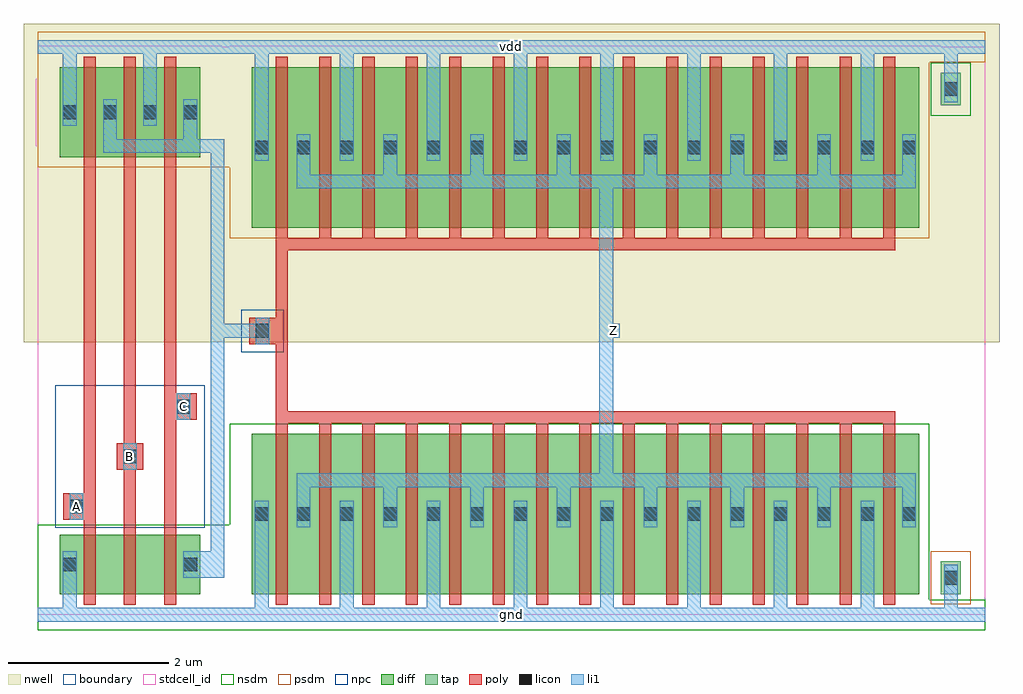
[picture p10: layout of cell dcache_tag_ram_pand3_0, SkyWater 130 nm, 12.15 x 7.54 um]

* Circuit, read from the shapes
.subckt dcache_tag_ram_pand3_0 A B C Z gnd vdd
XM1 dcache_tag_ram_pnand3_0/dcache_tag_ram_nmos_m1_w0_740_sli_dactive_3/D A gnd gnd sky130_fd_pr__nfet_01v8 w=0.74 l=0.15
XM2 dcache_tag_ram_pnand3_0/dcache_tag_ram_nmos_m1_w0_740_sactive_dactive_4/D B dcache_tag_ram_pnand3_0/dcache_tag_ram_nmos_m1_w0_740_sli_dactive_3/D gnd sky130_fd_pr__nfet_01v8 w=0.74 l=0.15
XM3 dcache_tag_ram_pdriver_3_1/A C dcache_tag_ram_pnand3_0/dcache_tag_ram_nmos_m1_w0_740_sactive_dactive_4/D gnd sky130_fd_pr__nfet_01v8 w=0.74 l=0.15
XM4 Z dcache_tag_ram_pdriver_3_1/A gnd gnd sky130_fd_pr__nfet_01v8 w=2 l=0.15 m=15
XM5 dcache_tag_ram_pdriver_3_1/A A vdd vdd sky130_fd_pr__pfet_01v8 w=1.12 l=0.15
XM6 vdd B dcache_tag_ram_pdriver_3_1/A vdd sky130_fd_pr__pfet_01v8 w=1.12 l=0.15
XM7 dcache_tag_ram_pdriver_3_1/A C vdd vdd sky130_fd_pr__pfet_01v8 w=1.12 l=0.15
XM8 Z dcache_tag_ram_pdriver_3_1/A vdd vdd sky130_fd_pr__pfet_01v8 w=2 l=0.15 m=15
.ends

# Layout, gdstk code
import gdstk
lib = gdstk.Library(unit=1e-6, precision=1e-09)
def R(c, l, rs):  # rectangles x0, y0, x1, y1
    for r in rs: c.add(gdstk.rectangle(r[:2], r[2:], *l))
def A(c, l, x, y, w, h, nx, ny, dx, dy):  # array of equal rectangles
    R(c, l, [(x+i*dx, y+j*dy, x+i*dx+w, y+j*dy+h) for i in range(nx) for j in range(ny)])
nwell = (64, 20)
diff = (65, 20)
tap = (65, 44)
poly = (66, 20)
licon = (66, 44)
li1 = (67, 20)
stdcell_id = (81, 4)
nsdm = (93, 44)
psdm = (94, 20)
npc = (95, 20)
boundary = (235, 4)

dcache_tag_ram_contact_1 = lib.new_cell('dcache_tag_ram_contact_11')
R(dcache_tag_ram_contact_1, nwell, [(-0.295,-0.255,0.545,0.585)])
R(dcache_tag_ram_contact_1, diff, [(0,0.02,0.25,0.31)])
R(dcache_tag_ram_contact_1, licon, [(0.04,0.08,0.21,0.25)])
R(dcache_tag_ram_contact_1, li1, [(0.04,0,0.21,0.33)])
R(dcache_tag_ram_contact_1, stdcell_id, [(-0.295,-0.255,0.545,0.585)])
R(dcache_tag_ram_contact_1, psdm, [(-0.125,-0.105,0.375,0.435)])
R(dcache_tag_ram_contact_1, boundary, [(-0.295,-0.255,0.545,0.585)])

dcache_tag_ram_pmos_m1_w = lib.new_cell('dcache_tag_ram_pmos_m1_w1_120_sli_dli')
R(dcache_tag_ram_pmos_m1_w, nwell, [(-0.27,-0.27,1.02,1.39)])
R(dcache_tag_ram_pmos_m1_w, diff, [(0,0,0.75,1.12)])
R(dcache_tag_ram_pmos_m1_w, poly, [(0.3,-0.13,0.45,1.25), (0.3,-0.13,0.45,1.25)])
R(dcache_tag_ram_pmos_m1_w, li1, [(0.04,0.395,0.21,0.725), (0.54,0.395,0.71,0.725)])
R(dcache_tag_ram_pmos_m1_w, stdcell_id, [(-0.27,-0.27,1.02,1.39)])
R(dcache_tag_ram_pmos_m1_w, psdm, [(-0.125,-0.125,0.875,1.245)])
R(dcache_tag_ram_pmos_m1_w, boundary, [(-0.27,-0.27,1.02,1.39)])
dcache_tag_ram_pmos_m1_w.add(gdstk.Reference(dcache_tag_ram_contact_1, (0,0.395)))
dcache_tag_ram_pmos_m1_w.add(gdstk.Reference(dcache_tag_ram_contact_1, (0.5,0.395)))
dcache_tag_ram_pmos_m1_w.add(gdstk.Label('G', (0.375,0.56), layer=66, texttype=5))
dcache_tag_ram_pmos_m1_w.add(gdstk.Label('S', (0.125,0.56), layer=67, texttype=5))
dcache_tag_ram_pmos_m1_w.add(gdstk.Label('D', (0.625,0.56), layer=67, texttype=5))

c_dcache_tag_ram_contact_1 = lib.new_cell('dcache_tag_ram_contact_10')
R(c_dcache_tag_ram_contact_1, diff, [(0,0.02,0.25,0.31)])
R(c_dcache_tag_ram_contact_1, licon, [(0.04,0.08,0.21,0.25)])
R(c_dcache_tag_ram_contact_1, li1, [(0.04,0,0.21,0.33)])
R(c_dcache_tag_ram_contact_1, stdcell_id, [(-0.125,-0.105,0.375,0.435)])
R(c_dcache_tag_ram_contact_1, nsdm, [(-0.125,-0.105,0.375,0.435)])
R(c_dcache_tag_ram_contact_1, boundary, [(-0.125,-0.105,0.375,0.435)])

dcache_tag_ram_nmos_m1_w = lib.new_cell('dcache_tag_ram_nmos_m1_w0_740_sli_dactive')
R(dcache_tag_ram_nmos_m1_w, diff, [(0,0,0.75,0.74), (0.55,0.295,0.7,0.445)])
R(dcache_tag_ram_nmos_m1_w, poly, [(0.3,-0.13,0.45,0.87), (0.3,-0.13,0.45,0.87)])
R(dcache_tag_ram_nmos_m1_w, li1, [(0.04,0.205,0.21,0.535)])
R(dcache_tag_ram_nmos_m1_w, stdcell_id, [(-0.125,-0.13,0.875,0.87)])
R(dcache_tag_ram_nmos_m1_w, nsdm, [(-0.125,-0.125,0.875,0.865)])
R(dcache_tag_ram_nmos_m1_w, boundary, [(-0.125,-0.13,0.875,0.87)])
dcache_tag_ram_nmos_m1_w.add(gdstk.Reference(c_dcache_tag_ram_contact_1, (0,0.205)))
dcache_tag_ram_nmos_m1_w.add(gdstk.Label('G', (0.375,0.37), layer=66, texttype=5))
dcache_tag_ram_nmos_m1_w.add(gdstk.Label('S', (0.125,0.37), layer=67, texttype=5))
dcache_tag_ram_nmos_m1_w.add(gdstk.Label('D', (0.625,0.37), layer=65, texttype=5))

c_dcache_tag_ram_nmos_m1_w = lib.new_cell('dcache_tag_ram_nmos_m1_w0_740_sactive_dactive')
R(c_dcache_tag_ram_nmos_m1_w, diff, [(0,0,0.75,0.74), (0.05,0.295,0.2,0.445), (0.55,0.295,0.7,0.445)])
R(c_dcache_tag_ram_nmos_m1_w, poly, [(0.3,-0.13,0.45,0.87), (0.3,-0.13,0.45,0.87)])
R(c_dcache_tag_ram_nmos_m1_w, stdcell_id, [(-0.125,-0.13,0.875,0.87)])
R(c_dcache_tag_ram_nmos_m1_w, nsdm, [(-0.125,-0.125,0.875,0.865)])
R(c_dcache_tag_ram_nmos_m1_w, boundary, [(-0.125,-0.13,0.875,0.87)])
c_dcache_tag_ram_nmos_m1_w.add(gdstk.Label('G', (0.375,0.37), layer=66, texttype=5))
c_dcache_tag_ram_nmos_m1_w.add(gdstk.Label('S', (0.125,0.37), layer=65, texttype=5))
c_dcache_tag_ram_nmos_m1_w.add(gdstk.Label('D', (0.625,0.37), layer=65, texttype=5))

c_dcache_tag_ram_nmos_m1_w_ = lib.new_cell('dcache_tag_ram_nmos_m1_w0_740_sactive_dli')
R(c_dcache_tag_ram_nmos_m1_w_, diff, [(0,0,0.75,0.74), (0.05,0.295,0.2,0.445)])
R(c_dcache_tag_ram_nmos_m1_w_, poly, [(0.3,-0.13,0.45,0.87), (0.3,-0.13,0.45,0.87)])
R(c_dcache_tag_ram_nmos_m1_w_, li1, [(0.54,0.205,0.71,0.535)])
R(c_dcache_tag_ram_nmos_m1_w_, stdcell_id, [(-0.125,-0.13,0.875,0.87)])
R(c_dcache_tag_ram_nmos_m1_w_, nsdm, [(-0.125,-0.125,0.875,0.865)])
R(c_dcache_tag_ram_nmos_m1_w_, boundary, [(-0.125,-0.13,0.875,0.87)])
c_dcache_tag_ram_nmos_m1_w_.add(gdstk.Reference(c_dcache_tag_ram_contact_1, (0.5,0.205)))
c_dcache_tag_ram_nmos_m1_w_.add(gdstk.Label('G', (0.375,0.37), layer=66, texttype=5))
c_dcache_tag_ram_nmos_m1_w_.add(gdstk.Label('S', (0.125,0.37), layer=65, texttype=5))
c_dcache_tag_ram_nmos_m1_w_.add(gdstk.Label('D', (0.625,0.37), layer=67, texttype=5))

c_dcache_tag_ram_contact_1_ = lib.new_cell('dcache_tag_ram_contact_15')
R(c_dcache_tag_ram_contact_1_, poly, [(0,0,0.33,0.33)])
R(c_dcache_tag_ram_contact_1_, licon, [(0.08,0.08,0.25,0.25)])
R(c_dcache_tag_ram_contact_1_, li1, [(0.08,0,0.25,0.33)])
R(c_dcache_tag_ram_contact_1_, stdcell_id, [(-0.1,-0.1,0.43,0.43)])
R(c_dcache_tag_ram_contact_1_, npc, [(-0.1,-0.1,0.43,0.43)])
R(c_dcache_tag_ram_contact_1_, boundary, [(-0.1,-0.1,0.43,0.43)])

dcache_tag_ram_pnand3 = lib.new_cell('dcache_tag_ram_pnand3')
R(dcache_tag_ram_pnand3, nwell, [(-0.18,3.395,2.57,7.355)])
A(dcache_tag_ram_pnand3, poly, 0.57, 1.125, 0.15, 4.44, 3, 1, 0.5, 0)
R(dcache_tag_ram_pnand3, poly, [(0.48,1.185,0.57,1.515), (1.07,1.805,1.145,2.135), (1.57,2.425,1.81,2.755)])
R(dcache_tag_ram_pnand3, li1, [(0,-0.085,2.39,0.085), (0.31,-0.085,0.48,0.46), (1.895,0.46,2.235,0.79), (2.15,0.46,2.32,5.835), (0.395,1.185,0.565,1.515), (1.06,1.805,1.23,2.135), (1.725,2.425,1.895,2.755), (0.81,5.75,0.98,5.92), (0.895,5.75,2.235,5.92), (1.81,5.75,1.98,5.92), (1.895,5.75,2.235,5.92), (2.15,5.75,2.32,5.92), (0.81,5.835,0.98,6.255), (1.81,5.835,1.98,6.255), (0.31,6.09,0.48,7.155), (1.31,6.09,1.48,7.155), (0,6.985,2.39,7.155)])
R(dcache_tag_ram_pnand3, stdcell_id, [(0,0,2.39,7.07), (0,0,2.39,7.07)])
R(dcache_tag_ram_pnand3, nsdm, [(0,-0.19,2.39,0.19), (0,0,2.39,1.12)])
R(dcache_tag_ram_pnand3, psdm, [(0,5.57,2.39,7.07), (0,6.88,2.39,7.26)])
R(dcache_tag_ram_pnand3, npc, [(0.215,1.085,2.075,2.855)])
R(dcache_tag_ram_pnand3, boundary, [(0,0,2.39,7.07), (0,0,2.39,7.07)])
dcache_tag_ram_pnand3.add(gdstk.Reference(dcache_tag_ram_pmos_m1_w, (0.27,5.695)))
dcache_tag_ram_pnand3.add(gdstk.Reference(dcache_tag_ram_pmos_m1_w, (0.77,5.695)))
dcache_tag_ram_pnand3.add(gdstk.Reference(dcache_tag_ram_pmos_m1_w, (1.27,5.695)))
dcache_tag_ram_pnand3.add(gdstk.Reference(dcache_tag_ram_nmos_m1_w, (0.27,0.255)))
dcache_tag_ram_pnand3.add(gdstk.Reference(c_dcache_tag_ram_nmos_m1_w, (0.77,0.255)))
dcache_tag_ram_pnand3.add(gdstk.Reference(c_dcache_tag_ram_nmos_m1_w_, (1.27,0.255)))
dcache_tag_ram_pnand3.add(gdstk.Reference(c_dcache_tag_ram_contact_1_, (0.315,1.185)))
dcache_tag_ram_pnand3.add(gdstk.Reference(c_dcache_tag_ram_contact_1_, (0.98,1.805)))
dcache_tag_ram_pnand3.add(gdstk.Reference(c_dcache_tag_ram_contact_1_, (1.645,2.425)))
dcache_tag_ram_pnand3.add(gdstk.Label('A', (0.48,1.35), layer=67, texttype=5))
dcache_tag_ram_pnand3.add(gdstk.Label('B', (1.145,1.97), layer=67, texttype=5))
dcache_tag_ram_pnand3.add(gdstk.Label('C', (1.81,2.59), layer=67, texttype=5))
dcache_tag_ram_pnand3.add(gdstk.Label('Z', (2.235,5.835), layer=67, texttype=5))
dcache_tag_ram_pnand3.add(gdstk.Label('gnd', (1.195,0), layer=67, texttype=5))
dcache_tag_ram_pnand3.add(gdstk.Label('vdd', (1.195,7.07), layer=67, texttype=5))

dcache_tag_ram_pmos_m15_ = lib.new_cell('dcache_tag_ram_pmos_m15_w2_000_sli_dli_da_p')
R(dcache_tag_ram_pmos_m15_, nwell, [(-0.27,-0.27,8.58,2.27)])
R(dcache_tag_ram_pmos_m15_, diff, [(0,0,8.31,2)])
A(dcache_tag_ram_pmos_m15_, poly, 0.3, -0.13, 0.15, 2.26, 15, 1, 0.54, 0)
R(dcache_tag_ram_pmos_m15_, poly, [(0.3,-0.28,8.01,-0.13)])
A(dcache_tag_ram_pmos_m15_, li1, 0.56, 0.58, 0.17, 0.42, 7, 1, 1.08, 0)
A(dcache_tag_ram_pmos_m15_, li1, 1.1, 0.835, 0.17, 0.33, 7, 1, 1.08, 0)
R(dcache_tag_ram_pmos_m15_, li1, [(0.56,0.495,8.27,0.665), (8.1,0.58,8.27,1), (0.04,0.835,0.21,1.165)])
R(dcache_tag_ram_pmos_m15_, stdcell_id, [(-0.27,-0.28,8.58,2.27)])
R(dcache_tag_ram_pmos_m15_, psdm, [(-0.125,-0.125,8.435,2.125)])
R(dcache_tag_ram_pmos_m15_, boundary, [(-0.27,-0.28,8.58,2.27)])
dcache_tag_ram_pmos_m15_.add(gdstk.Reference(dcache_tag_ram_contact_1, (0,0.835)))
dcache_tag_ram_pmos_m15_.add(gdstk.Reference(dcache_tag_ram_contact_1, (0.52,0.835)))
dcache_tag_ram_pmos_m15_.add(gdstk.Reference(dcache_tag_ram_contact_1, (1.06,0.835)))
dcache_tag_ram_pmos_m15_.add(gdstk.Reference(dcache_tag_ram_contact_1, (1.6,0.835)))
dcache_tag_ram_pmos_m15_.add(gdstk.Reference(dcache_tag_ram_contact_1, (2.14,0.835)))
dcache_tag_ram_pmos_m15_.add(gdstk.Reference(dcache_tag_ram_contact_1, (2.68,0.835)))
dcache_tag_ram_pmos_m15_.add(gdstk.Reference(dcache_tag_ram_contact_1, (3.22,0.835)))
dcache_tag_ram_pmos_m15_.add(gdstk.Reference(dcache_tag_ram_contact_1, (3.76,0.835)))
dcache_tag_ram_pmos_m15_.add(gdstk.Reference(dcache_tag_ram_contact_1, (4.3,0.835)))
dcache_tag_ram_pmos_m15_.add(gdstk.Reference(dcache_tag_ram_contact_1, (4.84,0.835)))
dcache_tag_ram_pmos_m15_.add(gdstk.Reference(dcache_tag_ram_contact_1, (5.38,0.835)))
dcache_tag_ram_pmos_m15_.add(gdstk.Reference(dcache_tag_ram_contact_1, (5.92,0.835)))
dcache_tag_ram_pmos_m15_.add(gdstk.Reference(dcache_tag_ram_contact_1, (6.46,0.835)))
dcache_tag_ram_pmos_m15_.add(gdstk.Reference(dcache_tag_ram_contact_1, (7,0.835)))
dcache_tag_ram_pmos_m15_.add(gdstk.Reference(dcache_tag_ram_contact_1, (7.54,0.835)))
dcache_tag_ram_pmos_m15_.add(gdstk.Reference(dcache_tag_ram_contact_1, (8.06,0.835)))
dcache_tag_ram_pmos_m15_.add(gdstk.Label('G', (4.155,-0.205), layer=66, texttype=5))
dcache_tag_ram_pmos_m15_.add(gdstk.Label('S', (5.505,1), layer=67, texttype=5))
dcache_tag_ram_pmos_m15_.add(gdstk.Label('S', (2.265,1), layer=67, texttype=5))
dcache_tag_ram_pmos_m15_.add(gdstk.Label('S', (1.185,1), layer=67, texttype=5))
dcache_tag_ram_pmos_m15_.add(gdstk.Label('S', (7.665,1), layer=67, texttype=5))
dcache_tag_ram_pmos_m15_.add(gdstk.Label('S', (0.125,1), layer=67, texttype=5))
dcache_tag_ram_pmos_m15_.add(gdstk.Label('S', (6.585,1), layer=67, texttype=5))
dcache_tag_ram_pmos_m15_.add(gdstk.Label('S', (3.345,1), layer=67, texttype=5))
dcache_tag_ram_pmos_m15_.add(gdstk.Label('S', (4.425,1), layer=67, texttype=5))
dcache_tag_ram_pmos_m15_.add(gdstk.Label('D', (4.415,0.58), layer=67, texttype=5))

dcache_tag_ram_nmos_m15_ = lib.new_cell('dcache_tag_ram_nmos_m15_w2_000_sli_dli_da_p')
R(dcache_tag_ram_nmos_m15_, diff, [(0,0,8.31,2)])
A(dcache_tag_ram_nmos_m15_, poly, 0.3, -0.13, 0.15, 2.26, 15, 1, 0.54, 0)
R(dcache_tag_ram_nmos_m15_, poly, [(0.3,2.13,8.01,2.28)])
A(dcache_tag_ram_nmos_m15_, li1, 1.1, 0.835, 0.17, 0.33, 7, 1, 1.08, 0)
A(dcache_tag_ram_nmos_m15_, li1, 0.56, 1, 0.17, 0.42, 7, 1, 1.08, 0)
R(dcache_tag_ram_nmos_m15_, li1, [(0.04,0.835,0.21,1.165), (8.1,1,8.27,1.42), (0.56,1.335,8.27,1.505)])
R(dcache_tag_ram_nmos_m15_, stdcell_id, [(-0.125,-0.13,8.435,2.28)])
R(dcache_tag_ram_nmos_m15_, nsdm, [(-0.125,-0.125,8.435,2.125)])
R(dcache_tag_ram_nmos_m15_, boundary, [(-0.125,-0.13,8.435,2.28)])
dcache_tag_ram_nmos_m15_.add(gdstk.Reference(c_dcache_tag_ram_contact_1, (0,0.835)))
dcache_tag_ram_nmos_m15_.add(gdstk.Reference(c_dcache_tag_ram_contact_1, (0.52,0.835)))
dcache_tag_ram_nmos_m15_.add(gdstk.Reference(c_dcache_tag_ram_contact_1, (1.06,0.835)))
dcache_tag_ram_nmos_m15_.add(gdstk.Reference(c_dcache_tag_ram_contact_1, (1.6,0.835)))
dcache_tag_ram_nmos_m15_.add(gdstk.Reference(c_dcache_tag_ram_contact_1, (2.14,0.835)))
dcache_tag_ram_nmos_m15_.add(gdstk.Reference(c_dcache_tag_ram_contact_1, (2.68,0.835)))
dcache_tag_ram_nmos_m15_.add(gdstk.Reference(c_dcache_tag_ram_contact_1, (3.22,0.835)))
dcache_tag_ram_nmos_m15_.add(gdstk.Reference(c_dcache_tag_ram_contact_1, (3.76,0.835)))
dcache_tag_ram_nmos_m15_.add(gdstk.Reference(c_dcache_tag_ram_contact_1, (4.3,0.835)))
dcache_tag_ram_nmos_m15_.add(gdstk.Reference(c_dcache_tag_ram_contact_1, (4.84,0.835)))
dcache_tag_ram_nmos_m15_.add(gdstk.Reference(c_dcache_tag_ram_contact_1, (5.38,0.835)))
dcache_tag_ram_nmos_m15_.add(gdstk.Reference(c_dcache_tag_ram_contact_1, (5.92,0.835)))
dcache_tag_ram_nmos_m15_.add(gdstk.Reference(c_dcache_tag_ram_contact_1, (6.46,0.835)))
dcache_tag_ram_nmos_m15_.add(gdstk.Reference(c_dcache_tag_ram_contact_1, (7,0.835)))
dcache_tag_ram_nmos_m15_.add(gdstk.Reference(c_dcache_tag_ram_contact_1, (7.54,0.835)))
dcache_tag_ram_nmos_m15_.add(gdstk.Reference(c_dcache_tag_ram_contact_1, (8.06,0.835)))
dcache_tag_ram_nmos_m15_.add(gdstk.Label('G', (4.155,2.205), layer=66, texttype=5))
dcache_tag_ram_nmos_m15_.add(gdstk.Label('S', (5.505,1), layer=67, texttype=5))
dcache_tag_ram_nmos_m15_.add(gdstk.Label('S', (2.265,1), layer=67, texttype=5))
dcache_tag_ram_nmos_m15_.add(gdstk.Label('S', (1.185,1), layer=67, texttype=5))
dcache_tag_ram_nmos_m15_.add(gdstk.Label('S', (7.665,1), layer=67, texttype=5))
dcache_tag_ram_nmos_m15_.add(gdstk.Label('S', (0.125,1), layer=67, texttype=5))
dcache_tag_ram_nmos_m15_.add(gdstk.Label('S', (6.585,1), layer=67, texttype=5))
dcache_tag_ram_nmos_m15_.add(gdstk.Label('S', (3.345,1), layer=67, texttype=5))
dcache_tag_ram_nmos_m15_.add(gdstk.Label('S', (4.425,1), layer=67, texttype=5))
dcache_tag_ram_nmos_m15_.add(gdstk.Label('D', (4.415,1.42), layer=67, texttype=5))

dcache_tag_ram_contact_2 = lib.new_cell('dcache_tag_ram_contact_24')
R(dcache_tag_ram_contact_2, nwell, [(-0.295,-0.215,0.545,0.625)])
R(dcache_tag_ram_contact_2, tap, [(0,0,0.25,0.41)])
R(dcache_tag_ram_contact_2, licon, [(0.04,0.12,0.21,0.29)])
R(dcache_tag_ram_contact_2, li1, [(0.04,0.04,0.21,0.37)])
R(dcache_tag_ram_contact_2, stdcell_id, [(-0.295,-0.215,0.545,0.625)])
R(dcache_tag_ram_contact_2, nsdm, [(-0.125,-0.125,0.375,0.535)])
R(dcache_tag_ram_contact_2, boundary, [(-0.295,-0.215,0.545,0.625)])

c_dcache_tag_ram_contact_2 = lib.new_cell('dcache_tag_ram_contact_25')
R(c_dcache_tag_ram_contact_2, tap, [(0,0,0.25,0.41)])
R(c_dcache_tag_ram_contact_2, licon, [(0.04,0.12,0.21,0.29)])
R(c_dcache_tag_ram_contact_2, li1, [(0.04,0.04,0.21,0.37)])
R(c_dcache_tag_ram_contact_2, stdcell_id, [(-0.125,-0.125,0.375,0.535)])
R(c_dcache_tag_ram_contact_2, psdm, [(-0.125,-0.125,0.375,0.535)])
R(c_dcache_tag_ram_contact_2, boundary, [(-0.125,-0.125,0.375,0.535)])

dcache_tag_ram_pinv_12 = lib.new_cell('dcache_tag_ram_pinv_12')
R(dcache_tag_ram_pinv_12, nwell, [(-0.18,3.395,9.58,7.355)])
R(dcache_tag_ram_pinv_12, poly, [(0.57,2.535,0.72,4.535), (0.405,3.37,0.57,3.7)])
A(dcache_tag_ram_pinv_12, li1, 1.37, -0.085, 0.17, 1.175, 7, 1, 1.08, 0)
A(dcache_tag_ram_pinv_12, li1, 1.37, 5.65, 0.17, 1.505, 7, 1, 1.08, 0)
R(dcache_tag_ram_pinv_12, li1, [(0,-0.085,9.4,0.085), (0.31,-0.085,0.48,1.09), (8.89,0,9.06,0.46), (4.6,1.59,4.77,5.48), (0.32,3.37,0.49,3.7), (4.685,3.45,4.855,3.62), (0.31,5.65,0.48,7.155), (8.89,6.545,9.06,7.07), (0,6.985,9.4,7.155)])
R(dcache_tag_ram_pinv_12, stdcell_id, [(0,0,9.4,7.07), (0,0,9.4,7.07)])
R(dcache_tag_ram_pinv_12, nsdm, [(0,-0.19,9.4,0.19), (0,0,8.705,2.38)])
R(dcache_tag_ram_pinv_12, psdm, [(0,4.69,8.705,7.07), (0,6.88,9.4,7.26)])
R(dcache_tag_ram_pinv_12, boundary, [(0,0,9.4,7.07), (0,0,9.4,7.07)])
dcache_tag_ram_pinv_12.add(gdstk.Reference(dcache_tag_ram_pmos_m15_, (0.27,4.815)))
dcache_tag_ram_pinv_12.add(gdstk.Reference(dcache_tag_ram_nmos_m15_, (0.27,0.255)))
dcache_tag_ram_pinv_12.add(gdstk.Reference(dcache_tag_ram_contact_2, (8.85,6.34)))
dcache_tag_ram_pinv_12.add(gdstk.Reference(c_dcache_tag_ram_contact_2, (8.85,0.255)))
dcache_tag_ram_pinv_12.add(gdstk.Reference(c_dcache_tag_ram_contact_1_, (0.24,3.37)))
dcache_tag_ram_pinv_12.add(gdstk.Label('A', (0.405,3.535), layer=67, texttype=5))
dcache_tag_ram_pinv_12.add(gdstk.Label('Z', (4.77,3.535), layer=67, texttype=5))
dcache_tag_ram_pinv_12.add(gdstk.Label('gnd', (4.7,0), layer=67, texttype=5))
dcache_tag_ram_pinv_12.add(gdstk.Label('vdd', (4.7,7.07), layer=67, texttype=5))

dcache_tag_ram_pdriver_3 = lib.new_cell('dcache_tag_ram_pdriver_3')
R(dcache_tag_ram_pdriver_3, nwell, [(-0.18,3.395,9.58,7.355)])
R(dcache_tag_ram_pdriver_3, li1, [(0,-0.085,9.4,0.085), (0.32,3.37,0.49,3.7), (4.685,3.45,4.855,3.62), (0,6.985,9.4,7.155)])
R(dcache_tag_ram_pdriver_3, stdcell_id, [(0,0,9.4,7.07), (0,0,9.4,7.07)])
R(dcache_tag_ram_pdriver_3, nsdm, [(0,-0.19,9.4,0.19)])
R(dcache_tag_ram_pdriver_3, psdm, [(0,6.88,9.4,7.26)])
R(dcache_tag_ram_pdriver_3, boundary, [(0,0,9.4,7.07), (0,0,9.4,7.07)])
dcache_tag_ram_pdriver_3.add(gdstk.Reference(dcache_tag_ram_pinv_12, (0,0)))
dcache_tag_ram_pdriver_3.add(gdstk.Label('Z', (4.77,3.535), layer=67, texttype=5))
dcache_tag_ram_pdriver_3.add(gdstk.Label('A', (0.405,3.535), layer=67, texttype=5))
dcache_tag_ram_pdriver_3.add(gdstk.Label('gnd', (4.7,0), layer=67, texttype=5))
dcache_tag_ram_pdriver_3.add(gdstk.Label('vdd', (4.7,7.07), layer=67, texttype=5))

dcache_tag_ram_pand3_0 = lib.new_cell('dcache_tag_ram_pand3_0')
R(dcache_tag_ram_pand3_0, li1, [(0,-0.085,11.79,0.085), (0.395,1.185,0.565,1.515), (1.06,1.805,1.23,2.135), (1.725,2.425,1.895,2.755), (2.15,3.45,2.32,3.62), (2.235,3.45,2.795,3.62), (7.075,3.45,7.245,3.62), (2.15,3.535,2.32,5.835), (0,6.985,11.79,7.155)])
R(dcache_tag_ram_pand3_0, stdcell_id, [(0,0,11.79,7.07), (0,0,11.79,7.07)])
R(dcache_tag_ram_pand3_0, boundary, [(0,0,11.79,7.07), (0,0,11.79,7.07)])
dcache_tag_ram_pand3_0.add(gdstk.Reference(dcache_tag_ram_pnand3, (0,0)))
dcache_tag_ram_pand3_0.add(gdstk.Reference(dcache_tag_ram_pdriver_3, (2.39,0)))
dcache_tag_ram_pand3_0.add(gdstk.Label('Z', (7.16,3.535), layer=67, texttype=5))
dcache_tag_ram_pand3_0.add(gdstk.Label('A', (0.48,1.35), layer=67, texttype=5))
dcache_tag_ram_pand3_0.add(gdstk.Label('B', (1.145,1.97), layer=67, texttype=5))
dcache_tag_ram_pand3_0.add(gdstk.Label('C', (1.81,2.59), layer=67, texttype=5))
dcache_tag_ram_pand3_0.add(gdstk.Label('gnd', (5.895,0), layer=67, texttype=5))
dcache_tag_ram_pand3_0.add(gdstk.Label('vdd', (5.895,7.07), layer=67, texttype=5))

lib.write_gds('dcache_tag_ram_pand3_0.gds')
